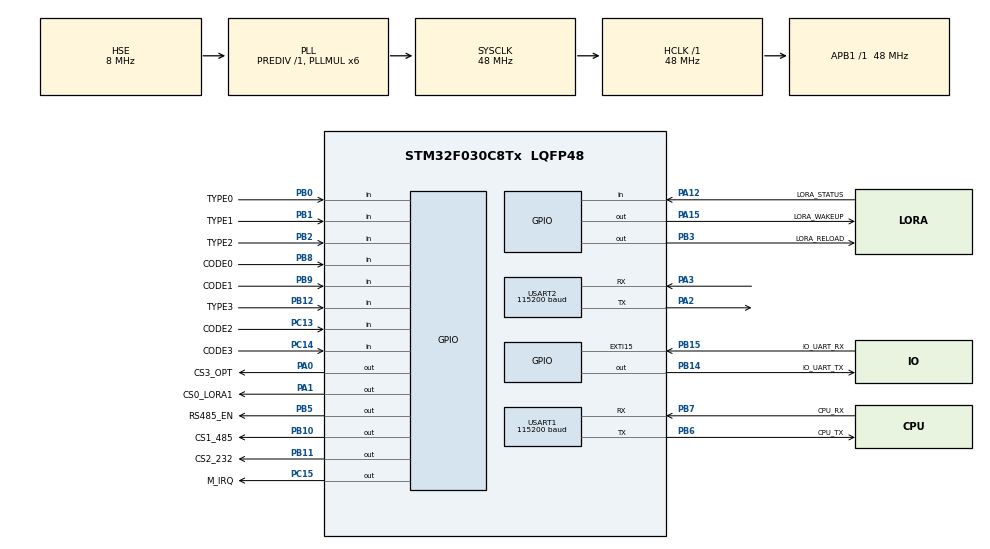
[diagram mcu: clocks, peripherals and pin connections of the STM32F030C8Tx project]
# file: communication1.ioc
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Dma.Request0=USART1_RX
Dma.Request1=USART1_TX
Dma.Request2=USART2_RX
Dma.Request3=USART2_TX
Dma.USART1_RX.0.Direction=DMA_PERIPH_TO_MEMORY
Dma.USART1_RX.0.Instance=DMA1_Channel3
Dma.USART1_RX.0.MemDataAlignment=DMA_MDATAALIGN_BYTE
Dma.USART1_RX.0.MemInc=DMA_MINC_ENABLE
Dma.USART1_RX.0.Mode=DMA_NORMAL
Dma.USART1_RX.0.PeriphDataAlignment=DMA_PDATAALIGN_BYTE
Dma.USART1_RX.0.PeriphInc=DMA_PINC_DISABLE
Dma.USART1_RX.0.Priority=DMA_PRIORITY_LOW
Dma.USART1_TX.1.Direction=DMA_MEMORY_TO_PERIPH
Dma.USART1_TX.1.Instance=DMA1_Channel2
Dma.USART1_TX.1.MemDataAlignment=DMA_MDATAALIGN_BYTE
Dma.USART1_TX.1.MemInc=DMA_MINC_ENABLE
Dma.USART1_TX.1.Mode=DMA_NORMAL
Dma.USART1_TX.1.PeriphDataAlignment=DMA_PDATAALIGN_BYTE
Dma.USART1_TX.1.PeriphInc=DMA_PINC_DISABLE
Dma.USART1_TX.1.Priority=DMA_PRIORITY_LOW
Dma.USART2_RX.2.Direction=DMA_PERIPH_TO_MEMORY
Dma.USART2_RX.2.Instance=DMA1_Channel5
Dma.USART2_RX.2.MemDataAlignment=DMA_MDATAALIGN_BYTE
Dma.USART2_RX.2.MemInc=DMA_MINC_ENABLE
Dma.USART2_RX.2.Mode=DMA_NORMAL
Dma.USART2_RX.2.PeriphDataAlignment=DMA_PDATAALIGN_BYTE
Dma.USART2_RX.2.PeriphInc=DMA_PINC_DISABLE
Dma.USART2_RX.2.Priority=DMA_PRIORITY_LOW
Dma.USART2_TX.3.Direction=DMA_MEMORY_TO_PERIPH
Dma.USART2_TX.3.Instance=DMA1_Channel4
Dma.USART2_TX.3.MemDataAlignment=DMA_MDATAALIGN_BYTE
Dma.USART2_TX.3.MemInc=DMA_MINC_ENABLE
Dma.USART2_TX.3.Mode=DMA_NORMAL
Dma.USART2_TX.3.PeriphDataAlignment=DMA_PDATAALIGN_BYTE
Dma.USART2_TX.3.PeriphInc=DMA_PINC_DISABLE
Dma.USART2_TX.3.Priority=DMA_PRIORITY_LOW
FREERTOS.BinarySemaphores01=Cpu_Recive,Dynamic,NULL;Lora_Recive,Dynamic,NULL
FREERTOS.Mutexes01=shellMutex,Dynamic,NULL;modbusMutex,Dynamic,NULL
FREERTOS.Tasks01=shell,-2,192,Shell_Task,Default,Shell_Object,Dynamic,NULL,NULL;Cpu,0,256,Cpu_Task,Default,Modbus_Object,Dynamic,NULL,NULL;Lora,2,256,Lora_Task,Default,Lora_Object,Dynamic,NULL,NULL;IWDG,3,64,IWDG_Task,Default,Shell_Object,Dynamic,NULL,NULL
FREERTOS.configCHECK_FOR_STACK_OVERFLOW=2
FREERTOS.configMINIMAL_STACK_SIZE=64
FREERTOS.configTIMER_QUEUE_LENGTH=2
FREERTOS.configTIMER_TASK_STACK_DEPTH=128
FREERTOS.configTOTAL_HEAP_SIZE=5200
FREERTOS.configUSE_CO_ROUTINES=0
FREERTOS.configUSE_MALLOC_FAILED_HOOK=1
FREERTOS.configUSE_TASK_NOTIFICATIONS=0
FREERTOS.configUSE_TIMERS=0
IWDG.Prescaler=IWDG_PRESCALER_64
IWDG.Reload=1250
Mcu.Family=STM32F0
Mcu.Name=STM32F030C8Tx
Mcu.Package=LQFP48
NVIC.DMA1_Channel2_3_IRQn=true\:3\:0\:false\:false\:true\:true\:false\:true\:true
NVIC.DMA1_Channel4_5_IRQn=true\:3\:0\:false\:false\:true\:true\:false\:true\:true
NVIC.EXTI4_15_IRQn=true\:3\:0\:false\:false\:true\:true\:true\:true\:true
NVIC.TIM14_IRQn=true\:3\:0\:false\:false\:true\:true\:true\:true\:true
NVIC.TIM1_BRK_UP_TRG_COM_IRQn=true\:3\:0\:true\:false\:true\:false\:false\:true\:true
NVIC.TIM6_IRQn=true\:3\:0\:false\:false\:true\:true\:true\:true\:true
NVIC.TimeBase=TIM1_BRK_UP_TRG_COM_IRQn
NVIC.TimeBaseIP=TIM1
NVIC.USART1_IRQn=true\:3\:0\:false\:false\:true\:true\:true\:true\:true
NVIC.USART2_IRQn=true\:3\:0\:true\:false\:true\:true\:true\:true\:true
PA0.GPIO_Label=CS3_OPT
PA0.GPIO_PuPd=GPIO_PULLUP
PA0.PinState=GPIO_PIN_SET
PA0.Signal=GPIO_Output
PA1.GPIO_Label=CS0_LORA1
PA1.GPIO_ModeDefaultOutputPP=GPIO_MODE_OUTPUT_PP
PA1.GPIO_PuPd=GPIO_PULLUP
PA1.PinState=GPIO_PIN_SET
PA1.Signal=GPIO_Output
PA12.GPIO_Label=LORA_STATUS
PA12.GPIO_PuPd=GPIO_PULLUP
PA12.Signal=GPIO_Input
PA13.Mode=Serial_Wire
PA13.Signal=SYS_SWDIO
PA14.Mode=Serial_Wire
PA14.Signal=SYS_SWCLK
PA15.GPIO_Label=LORA_WAKEUP
PA15.PinState=GPIO_PIN_SET
PA15.Signal=GPIO_Output
PA2.Mode=Asynchronous
PA2.Signal=USART2_TX
PA3.Mode=Asynchronous
PA3.Signal=USART2_RX
PB0.GPIO_Label=TYPE0
PB0.GPIO_PuPd=GPIO_PULLUP
PB0.Signal=GPIO_Input
PB1.GPIO_Label=TYPE1
PB1.GPIO_PuPd=GPIO_PULLUP
PB1.Signal=GPIO_Input
PB10.GPIO_Label=CS1_485
PB10.GPIO_PuPd=GPIO_PULLUP
PB10.PinState=GPIO_PIN_SET
PB10.Signal=GPIO_Output
PB11.GPIO_Label=CS2_232
PB11.GPIO_PuPd=GPIO_PULLUP
PB11.PinState=GPIO_PIN_SET
PB11.Signal=GPIO_Output
PB12.GPIO_Label=TYPE3
PB12.GPIO_PuPd=GPIO_PULLUP
PB12.Signal=GPIO_Input
PB14.GPIO_Label=IO_UART_TX
PB14.GPIO_PuPd=GPIO_PULLUP
PB14.GPIO_Speed=GPIO_SPEED_FREQ_HIGH
PB14.PinState=GPIO_PIN_SET
PB14.Signal=GPIO_Output
PB15.GPIO_Label=IO_UART_RX
PB15.GPIO_ModeDefaultEXTI=GPIO_MODE_IT_FALLING
PB15.GPIO_PuPd=GPIO_PULLUP
PB15.Signal=GPXTI15
PB2.GPIO_Label=TYPE2
PB2.GPIO_PuPd=GPIO_PULLUP
PB2.Signal=GPIO_Input
PB3.GPIO_Label=LORA_RELOAD
PB3.GPIO_ModeDefaultOutputPP=GPIO_MODE_OUTPUT_PP
PB3.GPIO_PuPd=GPIO_PULLUP
PB3.PinState=GPIO_PIN_SET
PB3.Signal=GPIO_Output
PB5.GPIO_Label=RS485_EN
PB5.GPIO_Speed=GPIO_SPEED_FREQ_HIGH
PB5.Signal=GPIO_Output
PB6.GPIO_Label=CPU_TX
PB6.Mode=Asynchronous
PB6.Signal=USART1_TX
PB7.GPIO_Label=CPU_RX
PB7.Mode=Asynchronous
PB7.Signal=USART1_RX
PB8.GPIO_Label=CODE0
PB8.GPIO_PuPd=GPIO_PULLUP
PB8.Signal=GPIO_Input
PB9.GPIO_Label=CODE1
PB9.GPIO_PuPd=GPIO_PULLUP
PB9.Signal=GPIO_Input
PC13.GPIO_Label=CODE2
PC13.GPIO_PuPd=GPIO_PULLUP
PC13.Signal=GPIO_Input
PC14-OSC32_IN.GPIO_Label=CODE3
PC14-OSC32_IN.GPIO_PuPd=GPIO_PULLUP
PC14-OSC32_IN.Signal=GPIO_Input
PC15-OSC32_OUT.GPIO_Label=M_IRQ
PC15-OSC32_OUT.GPIO_PuPd=GPIO_PULLUP
PC15-OSC32_OUT.PinState=GPIO_PIN_SET
PC15-OSC32_OUT.Signal=GPIO_Output
PF0-OSC_IN.Mode=HSE-External-Oscillator
PF0-OSC_IN.Signal=RCC_OSC_IN
PF1-OSC_OUT.Mode=HSE-External-Oscillator
PF1-OSC_OUT.Signal=RCC_OSC_OUT
ProjectManager.HeapSize=0x00
ProjectManager.StackSize=0x200
ProjectManager.TargetToolchain=MDK-ARM V5.27
RCC.AHBFreq_Value=48000000
RCC.APB1Freq_Value=48000000
RCC.APB1TimFreq_Value=48000000
RCC.HCLKFreq_Value=48000000
RCC.PLLMUL=RCC_PLL_MUL6
RCC.PLLSourceVirtual=RCC_PLLSOURCE_HSE
RCC.SYSCLKFreq_VALUE=48000000
RCC.SYSCLKSource=RCC_SYSCLKSOURCE_PLLCLK
TIM14.Prescaler=48-1
TIM6.Prescaler=48-1
USART1.BaudRate=115200
USART1.VirtualMode-Asynchronous=VM_ASYNC
USART2.BaudRate=115200
USART2.VirtualMode-Asynchronous=VM_ASYNC
VP_FREERTOS_VS_CMSIS_V1.Mode=CMSIS_V1
VP_IWDG_VS_IWDG.Mode=IWDG_Activate
VP_SYS_VS_tim1.Mode=TIM1
VP_TIM14_VS_ClockSourceINT.Mode=Enable_Timer
VP_TIM6_VS_ClockSourceINT.Mode=Enable_Timer
board=custom

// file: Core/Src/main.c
/* USER CODE BEGIN Header */
/**
 ******************************************************************************
 * @file           : main.c
 * @brief          : Main program body
 ******************************************************************************
 * @attention
 *
 * Copyright (c) 2022 STMicroelectronics.
 * All rights reserved.
 *
 * This software is licensed under terms that can be found in the LICENSE file
 * in the root directory of this software component.
 * If no LICENSE file comes with this software, it is provided AS-IS.
 *
 ******************************************************************************
 */
/* USER CODE END Header */
#include "main.h"
#include "cmsis_os.h"
#include "dma.h"
#include "iwdg.h"
#include "tim.h"
#include "usart.h"
#include "gpio.h"

/* USER CODE BEGIN Includes */
#include "io_uart.h"
/* USER CODE END Includes */

void SystemClock_Config(void);
void MX_FREERTOS_Init(void);

int main(void)
{

  /* MCU Configuration--------------------------------------------------------*/

  /* Reset of all peripherals, Initializes the Flash interface and the Systick. */
  HAL_Init();

  /* Configure the system clock */
  SystemClock_Config();

  /* Initialize all configured peripherals */
  MX_GPIO_Init();
  MX_DMA_Init();
  MX_USART1_UART_Init();
  MX_USART2_UART_Init();
  MX_TIM6_Init();
  MX_TIM14_Init();
  MX_IWDG_Init();
  /* USER CODE BEGIN 2 */
  MX_USART1_UART_Init();
  MX_Suart_Init();
  /* USER CODE END 2 */

  /* Call init function for freertos objects (in freertos.c) */
  MX_FREERTOS_Init();

  /* Start scheduler */
  osKernelStart();

  /* We should never get here as control is now taken by the scheduler */
  /* Infinite loop */
  while (1)
  {

  }
}

void SystemClock_Config(void)
{
  RCC_OscInitTypeDef RCC_OscInitStruct = {0};
  RCC_ClkInitTypeDef RCC_ClkInitStruct = {0};
  RCC_PeriphCLKInitTypeDef PeriphClkInit = {0};

  /** Initializes the RCC Oscillators according to the specified parameters
  * in the RCC_OscInitTypeDef structure.
  */
  RCC_OscInitStruct.OscillatorType = RCC_OSCILLATORTYPE_LSI|RCC_OSCILLATORTYPE_HSE;
  RCC_OscInitStruct.HSEState = RCC_HSE_ON;
  RCC_OscInitStruct.LSIState = RCC_LSI_ON;
  RCC_OscInitStruct.PLL.PLLState = RCC_PLL_ON;
  RCC_OscInitStruct.PLL.PLLSource = RCC_PLLSOURCE_HSE;
  RCC_OscInitStruct.PLL.PLLMUL = RCC_PLL_MUL6;
  RCC_OscInitStruct.PLL.PREDIV = RCC_PREDIV_DIV1;
  if (HAL_RCC_OscConfig(&RCC_OscInitStruct) != HAL_OK)
  {
    Error_Handler();
  }

  /** Initializes the CPU, AHB and APB buses clocks
  */
  RCC_ClkInitStruct.ClockType = RCC_CLOCKTYPE_HCLK|RCC_CLOCKTYPE_SYSCLK
                              |RCC_CLOCKTYPE_PCLK1;
  RCC_ClkInitStruct.SYSCLKSource = RCC_SYSCLKSOURCE_PLLCLK;
  RCC_ClkInitStruct.AHBCLKDivider = RCC_SYSCLK_DIV1;
  RCC_ClkInitStruct.APB1CLKDivider = RCC_HCLK_DIV1;

  if (HAL_RCC_ClockConfig(&RCC_ClkInitStruct, FLASH_LATENCY_1) != HAL_OK)
  {
    Error_Handler();
  }
  PeriphClkInit.PeriphClockSelection = RCC_PERIPHCLK_USART1;
  PeriphClkInit.Usart1ClockSelection = RCC_USART1CLKSOURCE_PCLK1;
  if (HAL_RCCEx_PeriphCLKConfig(&PeriphClkInit) != HAL_OK)
  {
    Error_Handler();
  }
}

void HAL_TIM_PeriodElapsedCallback(TIM_HandleTypeDef *htim)
{
  /* USER CODE BEGIN Callback 0 */
  IoUart_HandleTypeDef *huart = &S_Uart1;
  static uint8_t Samp_Bits = 0;
  /* USER CODE END Callback 0 */
  if (htim->Instance == TIM1) {
    HAL_IncTick();
  }
  /* USER CODE BEGIN Callback 1 */
  else if (htim->Instance == TIM6)
  { /*Data transmission, transmission priority, no transmission before entering the receiving state*/
    if (huart->Tx.En)
    { /*Serial port sending bit status judgment*/
      switch (huart->Tx.Status)
      {
      case COM_START_BIT:
      {
        HAL_GPIO_WritePin(IO_UART_TX_GPIO_Port, IO_UART_TX_Pin, GPIO_PIN_RESET);
        huart->Tx.Status = COM_DATA_BIT;
        huart->Tx.Bits = 0U;
      }
      break;
      case COM_DATA_BIT:
      {
        HAL_GPIO_WritePin(IO_UART_TX_GPIO_Port, IO_UART_TX_Pin, (GPIO_PinState)((*(huart->Tx.pBuf) >> huart->Tx.Bits) & 0x01));

        if (++huart->Tx.Bits >= 8U)
        {
          huart->Tx.Status = huart->Check_Type ? COM_CHECK_BIT : COM_STOP_BIT;
        }
      }
      break;
      case COM_CHECK_BIT:
      {
      }
      break;
      case COM_STOP_BIT:
      {
        HAL_GPIO_WritePin(IO_UART_TX_GPIO_Port, IO_UART_TX_Pin, GPIO_PIN_SET);
        huart->Tx.Bits = 0U;
        if (--huart->Tx.Len)
        {
          huart->Tx.Status = COM_START_BIT;
          huart->Tx.pBuf++;
        }
        else
        {
          huart->Tx.Status = COM_NONE_BIT;
          huart->Tx.En = false;
          huart->Rx.En = true;
          HAL_TIM_Base_Stop_IT(huart->Tx.Timer_Handle);
          __HAL_TIM_SET_COUNTER(huart->Tx.Timer_Handle, 0U);
          HAL_NVIC_EnableIRQ(huart->Rx.IRQn);
          huart->Tx.Finsh_Flag = true;
        }
      }
      break;
      default:
        break;
      }
    }
  }
  else if (htim->Instance == TIM14)
  {
    if (huart->Rx.En)
    {
      switch (huart->Rx.Status)
      {
      case COM_START_BIT:
      {
        Samp_Bits = (Samp_Bits << 1U) | (HAL_GPIO_ReadPin(IO_UART_RX_GPIO_Port, IO_UART_RX_Pin) & 0x01);

        if (++huart->Rx.Filters >= MAX_SAMPING)
        {
          if (!Get_ValidBits(Samp_Bits))
          {
            huart->Rx.Status = COM_DATA_BIT;
            __HAL_TIM_SET_AUTORELOAD(huart->Rx.Timer_Handle, huart->Rx.Sam_Times[huart->Rx.Filters]);
          }
          else
          {
            huart->Rx.Status = COM_STOP_BIT;
          }
          Samp_Bits = 0U;
          huart->Rx.Filters = 0U;
        }
        else
        {
          __HAL_TIM_SET_AUTORELOAD(huart->Rx.Timer_Handle, huart->Rx.Sam_Times[huart->Rx.Filters]);
        }
      }
      break;
      case COM_DATA_BIT: /*Data bit*/
      {
        Samp_Bits = (Samp_Bits << 1U) | (HAL_GPIO_ReadPin(IO_UART_RX_GPIO_Port, IO_UART_RX_Pin) & 0x01);

        if (++huart->Rx.Filters >= MAX_SAMPING)
        {
          huart->Rx.Data |= (Get_ValidBits(Samp_Bits) & 0x01) << huart->Rx.Bits;
          if (huart->Rx.Bits >= 7U)
          {
            huart->Rx.Bits = 0;
            huart->Rx.Status = huart->Check_Type ? COM_CHECK_BIT : COM_STOP_BIT;
          }
          else
          {
            huart->Rx.Bits++;
          }
          __HAL_TIM_SET_AUTORELOAD(huart->Rx.Timer_Handle, huart->Rx.Sam_Times[huart->Rx.Filters]);
          huart->Rx.Filters = 0U;
          Samp_Bits = 0U;
        }
        else
        {
          __HAL_TIM_SET_AUTORELOAD(huart->Rx.Timer_Handle, huart->Rx.Sam_Times[huart->Rx.Filters]);
        }
      }
      break;
      case COM_CHECK_BIT: /*Check bit*/
      {
        huart->Rx.Status = COM_NONE_BIT;
      }
      break;
      case COM_STOP_BIT: /*stop bit*/
      {
        Samp_Bits = (Samp_Bits << 1U) | (HAL_GPIO_ReadPin(IO_UART_RX_GPIO_Port, IO_UART_RX_Pin) & 0x01);

        if (++huart->Rx.Filters >= MAX_SAMPING)
        { /*Stop bit received correctly*/
          if (Get_ValidBits(Samp_Bits))
          {
            huart->Rx.Len++;
            huart->Rx.Status = COM_NONE_BIT;
            // huart->Rx.En = true;
            // huart->Tx.En = false; ///
            HAL_TIM_Base_Stop_IT(huart->Rx.Timer_Handle);
            __HAL_TIM_SET_COUNTER(huart->Rx.Timer_Handle, 0U);
            // HAL_NVIC_EnableIRQ(huart->Rx.IRQn);
            /*Two interrupts are generated when one data is received?*/
            // huart->Rx.Finsh_Flag ^= true;
            huart->Rx.Finsh_Flag = true;
          }
          huart->Rx.Filters = 0U;
          Samp_Bits = 0U;
        }
        else
        {
          __HAL_TIM_SET_AUTORELOAD(huart->Rx.Timer_Handle, huart->Rx.Sam_Times[huart->Rx.Filters]);
        }
      }
      break;
      default:
        break;
      }
    }
  }
  /* USER CODE END Callback 1 */
}

void Error_Handler(void)
{
  __disable_irq();
  while (1)
  {
  }
}

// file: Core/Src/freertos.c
/* USER CODE BEGIN Header */
/**
 ******************************************************************************
 * File Name          : freertos.c
 * Description        : Code for freertos applications
 ******************************************************************************
 * @attention
 *
 * Copyright (c) 2022 STMicroelectronics.
 * All rights reserved.
 *
 * This software is licensed under terms that can be found in the LICENSE file
 * in the root directory of this software component.
 * If no LICENSE file comes with this software, it is provided AS-IS.
 *
 ******************************************************************************
 */
/* USER CODE END Header */

#include "FreeRTOS.h"
#include "task.h"
#include "main.h"
#include "cmsis_os.h"

/* USER CODE BEGIN Includes */
#include "tool.h"
// #include "Modbus.h"
#include "small_modbus_port.h"
#include "lora.h"
#include "shell_port.h"
/*https://www.cnblogs.com/ydmblog/p/15308372.html*/
#include <cm_backtrace.h>
/* USER CODE END Includes */

/* USER CODE BEGIN PTD */
#define HARDWARE_VERSION "V1.0.0"
#define SOFTWARE_VERSION "V0.1.0"
/* USER CODE END PTD */

osThreadId shellHandle;
osThreadId CpuHandle;
osThreadId LoraHandle;
osThreadId IWDGHandle;
osMutexId shellMutexHandle;
osMutexId modbusMutexHandle;
osSemaphoreId Cpu_ReciveHandle;
osSemaphoreId Lora_ReciveHandle;

void Shell_Task(void const *argument);
void Cpu_Task(void const *argument);
void Lora_Task(void const *argument);
void IWDG_Task(void const *argument);

void MX_FREERTOS_Init(void); /* (MISRA C 2004 rule 8.1) */

/* GetIdleTaskMemory prototype (linked to static allocation support) */
void vApplicationGetIdleTaskMemory(StaticTask_t **ppxIdleTaskTCBBuffer, StackType_t **ppxIdleTaskStackBuffer, uint32_t *pulIdleTaskStackSize);

/* Hook prototypes */
void vApplicationStackOverflowHook(xTaskHandle xTask, signed char *pcTaskName);
void vApplicationMallocFailedHook(void);

/* USER CODE BEGIN 4 */
__weak void vApplicationStackOverflowHook(xTaskHandle xTask, signed char *pcTaskName)
{
  /* Run time stack overflow checking is performed if
  configCHECK_FOR_STACK_OVERFLOW is defined to 1 or 2. This hook function is
  called if a stack overflow is detected. */
  shellPrint(Shell_Object, "@Error:%s is stack overflow!\r\n", pcTaskName);
}
/* USER CODE END 4 */

/* USER CODE BEGIN 5 */
__weak void vApplicationMallocFailedHook(void)
{
  /* vApplicationMallocFailedHook() will only be called if
  configUSE_MALLOC_FAILED_HOOK is set to 1 in FreeRTOSConfig.h. It is a hook
  function that will get called if a call to pvPortMalloc() fails.
  pvPortMalloc() is called internally by the kernel whenever a task, queue,
  timer or semaphore is created. It is also called by various parts of the
  demo application. If heap_1.c or heap_2.c are used, then the size of the
  heap available to pvPortMalloc() is defined by configTOTAL_HEAP_SIZE in
  FreeRTOSConfig.h, and the xPortGetFreeHeapSize() API function can be used
  to query the size of free heap space that remains (although it does not
  provide information on how the remaining heap might be fragmented). */
  shellPrint(Shell_Object, "@Error:memory allocation failed!\r\n");
  shellPrint(Shell_Object, "\r\n\r\nOS remaining heap = %dByte, Mini heap = %dByte\r\n",
             xPortGetFreeHeapSize(), xPortGetMinimumEverFreeHeapSize());
  /*Solve the problem of scheduling stuck after running out of memory: reset MCU with Watchdog*/
  for (;;)
    ;
}

/**
 * @brief  Obtain card slot and board code
 * @param  None
 * @retval Card slot number and card type
 */
uint8_t get_card_id(void)
{
  GPIO_TypeDef *pGPIOx = CODE0_GPIO_Port;
  uint8_t data = 0x00; // 0xE0;
  /*PB8、PB9*/
  data |= (uint16_t)(((uint16_t)pGPIOx->IDR & 0x0300) >> 8U);
  /*PC13、PC14*/
  pGPIOx = CODE2_GPIO_Port;
  data |= (uint16_t)(((uint16_t)pGPIOx->IDR & 0x6000) >> 11U);
  /*PB0、PB1、PB2*/
  pGPIOx = TYPE0_GPIO_Port;
  data |= (uint16_t)(((uint16_t)pGPIOx->IDR & 0x0007) << 4U);
  /*PB12*/
  data |= (uint16_t)(((uint16_t)pGPIOx->IDR & 0x1000) >> 5U);
  return data;
}

/* USER CODE END 5 */

/* USER CODE BEGIN GET_IDLE_TASK_MEMORY */
static StaticTask_t xIdleTaskTCBBuffer;
static StackType_t xIdleStack[configMINIMAL_STACK_SIZE];

void vApplicationGetIdleTaskMemory(StaticTask_t **ppxIdleTaskTCBBuffer, StackType_t **ppxIdleTaskStackBuffer, uint32_t *pulIdleTaskStackSize)
{
  *ppxIdleTaskTCBBuffer = &xIdleTaskTCBBuffer;
  *ppxIdleTaskStackBuffer = &xIdleStack[0];
  *pulIdleTaskStackSize = configMINIMAL_STACK_SIZE;
  /* place for user code */
}
/* USER CODE END GET_IDLE_TASK_MEMORY */

void MX_FREERTOS_Init(void)
{
  /* Create the mutex(es) */
  /* definition and creation of shellMutex */
  osMutexDef(shellMutex);
  shellMutexHandle = osMutexCreate(osMutex(shellMutex));

  /* definition and creation of modbusMutex */
  osMutexDef(modbusMutex);
  modbusMutexHandle = osMutexCreate(osMutex(modbusMutex));

  /* Create the semaphores(s) */
  /* definition and creation of Cpu_Recive */
  osSemaphoreDef(Cpu_Recive);
  Cpu_ReciveHandle = osSemaphoreCreate(osSemaphore(Cpu_Recive), 1);

  /* definition and creation of Lora_Recive */
  osSemaphoreDef(Lora_Recive);
  Lora_ReciveHandle = osSemaphoreCreate(osSemaphore(Lora_Recive), 1);

  /* USER CODE BEGIN RTOS_QUEUES */
  /* add queues, ... */
  MX_ShellInit(Shell_Object);
  MX_ModbusInit();
  MX_Lora_Init();
#if defined(USING_CMBACKTRACE)
  SCB->CCR |= (1 << 3); /* bit3: UNALIGN_TRP. */
  SCB->CCR |= (1 << 4); /* bit4: DIV_0_TRP. */
  /* CmBacktrace initialize */
  cm_backtrace_init("communication1", HARDWARE_VERSION, SOFTWARE_VERSION);
#endif
  /* USER CODE END RTOS_QUEUES */

  /* Create the thread(s) */
  /* definition and creation of shell */
  osThreadDef(shell, Shell_Task, osPriorityLow, 0, 192);
  shellHandle = osThreadCreate(osThread(shell), (void *)Shell_Object);

  /* definition and creation of Cpu */
  osThreadDef(Cpu, Cpu_Task, osPriorityNormal, 0, 256);
  CpuHandle = osThreadCreate(osThread(Cpu), (void *)Modbus_Object);

  /* definition and creation of Lora */
  osThreadDef(Lora, Lora_Task, osPriorityHigh, 0, 256);
  LoraHandle = osThreadCreate(osThread(Lora), (void *)Lora_Object);

  /* definition and creation of IWDG */
  osThreadDef(IWDG, IWDG_Task, osPriorityRealtime, 0, 64);
  IWDGHandle = osThreadCreate(osThread(IWDG), (void *)Shell_Object);

}

void Shell_Task(void const *argument)
{
  /* USER CODE BEGIN Shell_Task */
  // Shell *shell = (Shell *)argument;
  // char data = '\0';
  /* Infinite loop */
  for (;;)
  {
    shellTask((void *)argument);
  }
  /* USER CODE END Shell_Task */
}

/* USER CODE BEGIN Header_Cpu_Task */
/**
 * @brief	rt_thread 初始化目标串口的串口空闲中断+DMA接收
 * @details 乒乓缓冲实现方式：https://www.cnblogs.com/puyu9495/p/15914090.html
 * @param	puart Uartx handle
 * @param p_semaphore signal handler
 * @retval  none
 */
static void free_rtos_hal_uartx_dma_info_init(void *p_semaphore, pUartHandle puart)
{
  /*Initialize target serial port DMA configuration*/
  if (puart && puart->huart && puart->phdma && puart->rx.pbuf)
  {
    __HAL_UART_ENABLE_IT((UART_HandleTypeDef *)puart->huart, UART_IT_IDLE);
    /*DMA buffer must point to an entity address!!!*/
    HAL_UART_Receive_DMA((UART_HandleTypeDef *)puart->huart, puart->rx.pbuf, puart->rx.size);
    puart->rx.count = 0;
    memset(puart->rx.pbuf, 0x00, puart->rx.size);
  }
  if (p_semaphore)
    puart->semaphore = p_semaphore;
}
/**
 * @brief Function implementing the Cpu thread.
 * @param argument: Not used
 * @retval None
 */
/* USER CODE END Header_Cpu_Task */
void Cpu_Task(void const *argument)
{
  /* USER CODE BEGIN Cpu_Task */
  pModbusHandle pd = (pModbusHandle)argument;
  if (pd)
  {
    free_rtos_hal_uartx_dma_info_init(Cpu_ReciveHandle, &pd->Uart);
    osSemaphoreWait(pd->Uart.semaphore, osWaitForever);
  }

  /* Infinite loop */
  for (;;)
  {
    /*https://www.cnblogs.com/w-smile/p/11333950.html*/
    if ((osOK == osSemaphoreWait(pd->Uart.semaphore, osWaitForever)) && pd)
    {
      small_modbus_handler(pd);
#if defined(USING_DEBUG)
      shellPrint(Shell_Object, "modbus received a packet of data.\r\n");
#endif
    }
//	  HAL_GPIO_WritePin(RS485_EN_GPIO_Port, RS485_EN_Pin, GPIO_PIN_SET);
//	  HAL_UART_Transmit((UART_HandleTypeDef *)pd->Uart.huart, "hello world.\r\n",strlen("hello world.\r\n"), 0x100);
//	  osDelay(500);
  }
  /* USER CODE END Cpu_Task */
}

void Lora_Task(void const *argument)
{
  /* USER CODE BEGIN Lora_Task */
  pLoraHandle pl = (pLoraHandle)argument;
  if (pl)
  {
    free_rtos_hal_uartx_dma_info_init(Lora_ReciveHandle, &pl->Uart);
    osSemaphoreWait(pl->Uart.semaphore, osWaitForever);
  }

  /* Infinite loop */
  for (;;)
  {
    /*https://www.cnblogs.com/w-smile/p/11333950.html*/
    if ((osOK == osSemaphoreWait(pl->Uart.semaphore, LORA_SCHEDULE_TIMES)) && pl)
    {
      if (pl->Mode == Lora_Nomal_Recive)
        pl->Lora_Recive_Poll(pl);
#if defined(USING_DEBUG)
      shellPrint(Shell_Object, "Lora received a packet of data.\r\n");
#endif
    }
    else
    {
      if (pl->Mode == Lora_Nomal_Recive)
        pl->Lora_Transmit_Poll(pl);
    }
// osDelay(1000);
#if defined(USING_DEBUG)
#if ((configUSE_TRACE_FACILITY == 1) && (configUSE_STATS_FORMATTING_FUNCTIONS > 0) && (configSUPPORT_DYNAMIC_ALLOCATION == 1))
    TaskStatus_t *pTable = CUSTOM_MALLOC(uxTaskGetNumberOfTasks() * sizeof(TaskStatus_t));
    if (pTable)
    {
      vTaskList((char *)pTable);
      shellPrint(Shell_Object, "TaskName\tTaskState Priority   RemainingStack TaskID\r\n");
      shellPrint(Shell_Object, "%s\r\n", pTable);
    }
    CUSTOM_FREE(pTable);
    shellPrint(Shell_Object, "\r\nremaining heap = %d.\r\n", xPortGetFreeHeapSize());
#endif
#endif
    // shellPrint(Shell_Object, "\r\n\r\nOS remaining heap = %dByte, Mini heap = %dByte\r\n",
    //            xPortGetFreeHeapSize(), xPortGetMinimumEverFreeHeapSize());
  }
  /* USER CODE END Lora_Task */
}

/* USER CODE BEGIN Header_IWDG_Task */
typedef enum
{
  irq_start,
  irq_continue,
  irq_end,
} irq_state;

typedef struct
{
  irq_state status : 7;
  GPIO_PinState irq : 1;
  uint8_t first_flag : 1;
  uint16_t counter;
} irq_sm_handle;

irq_sm_handle irq_sm;
/*First power-on sign*/
bool first_boot = false;

uint16_t TIRQ_Handle(void)
{
#define IRQ_BASE_TIMES (200U)
#define IRQ_OFFSET_TIMES (20U)
#define IRQ_LOW_TIMES (10U)
  /*Interrupt signal generation*/
  pModbusHandle pd = Modbus_Object;
  irq_sm_handle *const psm = &irq_sm;

  if (NULL == pd->Slave.pHandle)
    return IRQ_BASE_TIMES;

  /*The board model is read or the corresponding interrupt processing request is responded*/
  psm->status = *(bool *)pd->Slave.pHandle
                    ? irq_end
                : psm->first_flag
                    ? psm->status
                    : irq_start;

  switch (psm->status)
  {
  case irq_start:
  {
    psm->first_flag = true;
    if (!first_boot)
    {
      first_boot = true;
      psm->irq = GPIO_PIN_SET;
      return (pd->Slave.id
                  ? IRQ_BASE_TIMES + (pd->Slave.id * IRQ_OFFSET_TIMES)
                  : IRQ_BASE_TIMES);
    }
    else
      psm->irq = GPIO_PIN_RESET;
    psm->counter = IRQ_LOW_TIMES;
    psm->status = irq_continue;
  }
  break;
  case irq_continue:
  {
    psm->irq = GPIO_PIN_SET;
    psm->counter = IRQ_BASE_TIMES;
    psm->status = irq_start;
  }
  break;
  case irq_end:
  {
    psm->first_flag = false;
    psm->irq = GPIO_PIN_SET;
  }
  break;
  }

  HAL_GPIO_WritePin(M_IRQ_GPIO_Port, M_IRQ_Pin, psm->irq);
  return psm->counter;
}
/**
 * @brief Function implementing the IWDG thread.
 * @param argument: Not used
 * @retval None
 */
/* USER CODE END Header_IWDG_Task */
void IWDG_Task(void const *argument)
{
  /* USER CODE BEGIN IWDG_Task */
  /*Wait for the main cpu to start:Basic delay with one more cycle*/
  osDelay(1000); //(1000 - IRQ_BASE_TIMES)
  /* Infinite loop */
  for (;;)
  {
    extern IWDG_HandleTypeDef hiwdg;
    HAL_IWDG_Refresh(&hiwdg);
    /*External interruption*/
    osDelay(TIRQ_Handle());
  }
  /* USER CODE END IWDG_Task */
}
